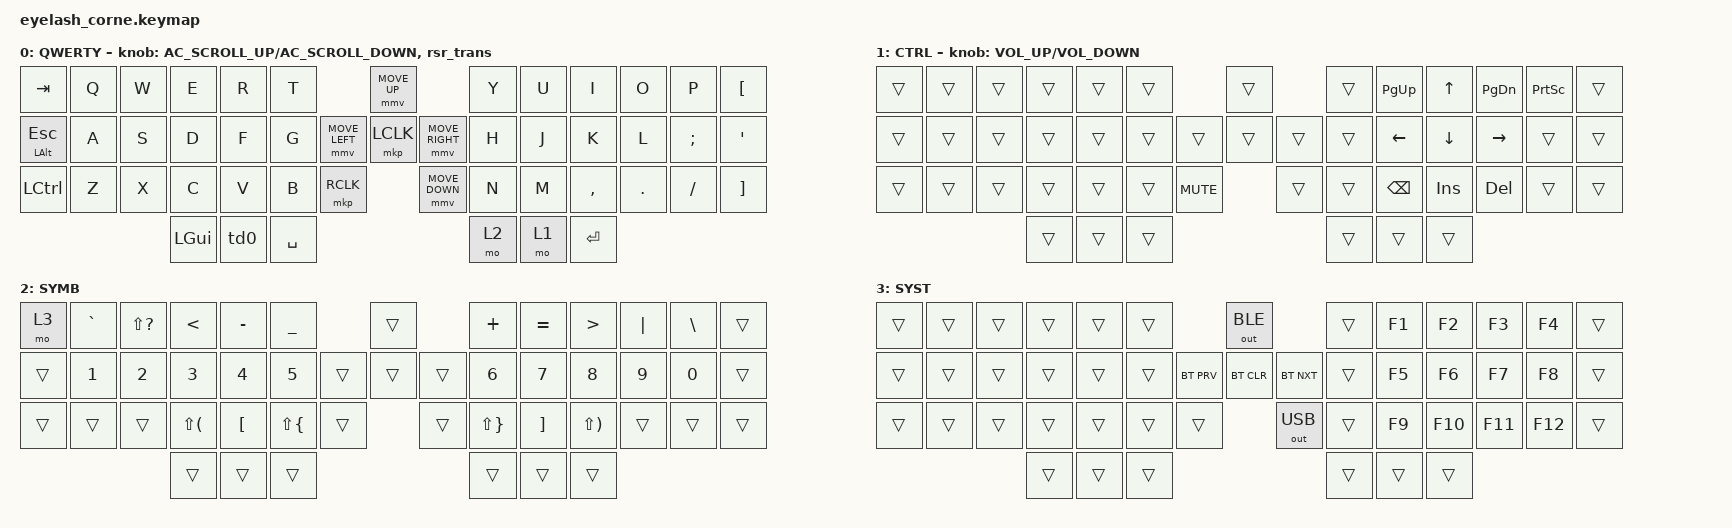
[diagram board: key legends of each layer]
#define ZMK_POINTING_DEFAULT_MOVE_VAL 1200  // 600
#define ZMK_POINTING_DEFAULT_SCRL_VAL 25   // 10

#include <input/processors.dtsi>
#include <zephyr/dt-bindings/input/input-event-codes.h>
#include <behaviors/runtime-sensor-rotate.dtsi>
#include <behaviors.dtsi>
#include <dt-bindings/zmk/bt.h>
#include <dt-bindings/zmk/keys.h>
#include <dt-bindings/zmk/outputs.h>
#include <dt-bindings/zmk/pointing.h>

&soft_off { hold-time-ms = <2000>; };

/ {
    behaviors {
        td0: td0 {
            compatible = "zmk,behavior-tap-dance";
            display-name = "Shift/Caps Lock Tap Dance";
            #binding-cells = <0>;
            bindings = <&kp LEFT_SHIFT>, <&kp CAPS>;
        };

        rsr_vol: rsr_vol {
            compatible = "zmk,behavior-runtime-sensor-rotate";
            #sensor-binding-cells = <0>;
            tap-ms = <5>;
            cw-binding = <&kp C_VOL_UP>;
            ccw-binding = <&kp C_VOL_DN>;
        };

        rsr_trans: rsr_trans {
            compatible = "zmk,behavior-runtime-sensor-rotate";
            #sensor-binding-cells = <0>;
            tap-ms = <0>;
        };
    };

    combos { compatible = "zmk,combos"; };

    keymap {
        compatible = "zmk,keymap";

        default_layer {
            display-name = "QWERTY";
            bindings = <
&kp TAB              &kp Q  &kp W  &kp E     &kp R  &kp T                                   &mmv MOVE_UP                     &kp Y  &kp U  &kp I      &kp O    &kp P     &kp LEFT_BRACKET
&mt LEFT_ALT ESCAPE  &kp A  &kp S  &kp D     &kp F  &kp G                   &mmv MOVE_LEFT  &mkp LCLK       &mmv MOVE_RIGHT  &kp H  &kp J  &kp K      &kp L    &kp SEMI  &kp SQT
&kp LCTRL            &kp Z  &kp X  &kp C     &kp V  &kp B      &mkp RCLK                    &mmv MOVE_DOWN                   &kp N  &kp M  &kp COMMA  &kp DOT  &kp FSLH  &kp RIGHT_BRACKET
                                   &kp LGUI  &td0   &kp SPACE                                                                &mo 2  &mo 1  &kp ENTER
            >;

            sensor-bindings =
                <&inc_dec_kp C_AC_SCROLL_UP C_AC_SCROLL_DOWN>,
                <&rsr_trans>;
        };

        CTRL {
            bindings = <
&trans  &trans  &trans  &trans  &trans  &trans                        &trans          &trans  &kp PG_UP  &kp UP      &kp PG_DN  &kp PRINTSCREEN  &trans
&trans  &trans  &trans  &trans  &trans  &trans                &trans  &trans  &trans  &trans  &kp LEFT   &kp DOWN    &kp RIGHT  &trans           &trans
&trans  &trans  &trans  &trans  &trans  &trans  &kp C_MUTE            &trans          &trans  &kp BSPC   &kp INSERT  &kp DEL    &trans           &trans
                        &trans  &trans  &trans                                        &trans  &trans     &trans
            >;

            sensor-bindings = <&inc_dec_kp C_VOLUME_UP C_VOLUME_DOWN>;
        };

        SYMB {
            bindings = <
&mo 3   &kp GRAVE  &kp LS(QMARK)  &kp LESS_THAN             &kp MINUS  &kp UNDERSCORE                    &trans          &kp PLUS      &kp EQUAL  &kp GREATER_THAN  &kp PIPE  &kp BSLH  &trans
&trans  &kp N1     &kp N2         &kp N3                    &kp N4     &kp N5                    &trans  &trans  &trans  &kp N6        &kp N7     &kp N8            &kp N9    &kp N0    &trans
&trans  &trans     &trans         &kp LS(LEFT_PARENTHESIS)  &kp LBKT   &kp LS(LBRC)    &trans            &trans          &kp LS(RBRC)  &kp RBKT   &kp LS(RPAR)      &trans    &trans    &trans
                                  &trans                    &trans     &trans                                            &trans        &trans     &trans
            >;
        };

        SYST {
            bindings = <
&trans  &trans  &trans  &trans  &trans  &trans                        &out OUT_BLE              &trans  &kp F1  &kp F2   &kp F3   &kp F4   &trans
&trans  &trans  &trans  &trans  &trans  &trans            &bt BT_PRV  &bt BT_CLR    &bt BT_NXT  &trans  &kp F5  &kp F6   &kp F7   &kp F8   &trans
&trans  &trans  &trans  &trans  &trans  &trans  &trans                &out OUT_USB              &trans  &kp F9  &kp F10  &kp F11  &kp F12  &trans
                        &trans  &trans  &trans                                                  &trans  &trans  &trans
            >;
        };
    };
};
